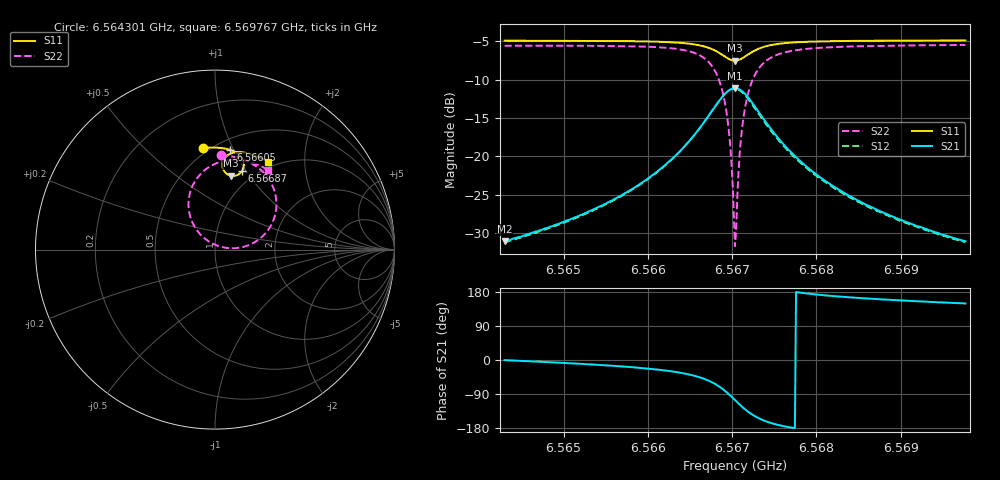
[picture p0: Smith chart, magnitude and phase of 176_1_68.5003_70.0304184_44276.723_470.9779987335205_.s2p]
#  HZ  S  RI  R  50.00
! Rohde & Schwarz Vector Network Analyzer
! Rohde-Schwarz,ZNB20-2Port,1311601062101988,3.16
! Created: UTC 3/20/2024, 4:56:24 PM
! freq[Hz]  re:S11  im:S11  re:S21  im:S21  re:S12  im:S12  re:S22  im:S22
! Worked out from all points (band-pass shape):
!   401 points, 6.564301 GHz to 6.569767 GHz, reference 50 ohm
!   highest |S21| = -11.10 dB at 6.567034 GHz (marker M1); lowest = -31.1 dB at 6.564301 GHz (marker M2)
!   |S21| within 3 dB of the highest: 6.566759 GHz to 6.567307 GHz (547.6 kHz wide, 0.00834 % of centre)
!   lowest |S11| = -7.5 dB at 6.567034 GHz (marker M3), VSWR 2.46, Z = 41 + j41.1 ohm
!   |S11| at or under -10 dB: nowhere
!   |S22| runs from -31.7 to -5.5 dB; largest |S21 - S12| = 0.013
!   S11 on the Smith chart (normalised r, x): 6.564301 GHz: 0.46, +0.78; 6.56605 GHz: 0.60, +0.97; 6.56687 GHz: 0.86, +0.96; 6.569767 GHz: 0.91, +1.33
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6.5643007e9  -0.0668 0.5654  0.0278 -0.000155  0.0274 -0.000739  0.0337 0.5262
6.5652163e9  0.00803 0.5681  0.0409 -0.00741  0.0403 -0.00804  0.1205 0.5132
6.5660499e9  0.0855 0.5551  0.0686 -0.0303  0.0676 -0.031  0.2279 0.4654
6.5661319e9  0.0943 0.5522  0.0731 -0.0353  0.0719 -0.0361  0.2419 0.455
6.5664325e9  0.1287 0.5329  0.094 -0.0674  0.0926 -0.0688  0.3008 0.3913
6.5666512e9  0.1539 0.502  0.1077 -0.1216  0.1053 -0.124  0.3399 0.2866
6.5667741e9  0.1607 0.4708  0.1003 -0.176  0.0959 -0.1795  0.3319 0.1825
6.5668698e9  0.1517 0.4396  0.0674 -0.2298  0.0598 -0.2328  0.2729 0.0819
6.5669518e9  0.1263 0.4163  0.00698 -0.2672  -0.00414 -0.2673  0.1616 0.0161
6.5669791e9  0.1141 0.412  -0.0196 -0.2727  -0.0312 -0.2711  0.1137 0.00787
6.5670201e9  0.0943 0.4108  -0.062 -0.2715  -0.0738 -0.2665  0.0383 0.0143
6.5670338e9  0.0877 0.4119  -0.0761 -0.2681  -0.0875 -0.2624  0.0139 0.0218
6.5670475e9  0.0811 0.4137  -0.0897 -0.2637  -0.1007 -0.2567  -0.00953 0.0315
6.5670611e9  0.0748 0.4162  -0.1026 -0.2577  -0.113 -0.2497  -0.0317 0.0437
6.5670885e9  0.0636 0.4233  -0.1261 -0.2425  -0.1352 -0.2329  -0.0706 0.0736
6.5671295e9  0.051 0.4373  -0.1538 -0.2135  -0.1601 -0.2026  -0.1142 0.1281
6.5671841e9  0.0421 0.4588  -0.1747 -0.1708  -0.1775 -0.1596  -0.1433 0.2056
6.5672524e9  0.0423 0.4839  -0.1806 -0.1218  -0.1801 -0.112  -0.1447 0.2916
6.5674984e9  0.0796 0.5313  -0.1388 -0.0276  -0.1359 -0.0235  -0.0488 0.4494
6.5679494e9  0.1423 0.5429  -0.0793 0.00847  -0.0775 0.00967  0.0868 0.4995
6.568865e9  0.2272 0.5221  -0.0385 0.0149  -0.0376 0.0152  0.2169 0.4812
6.5697669e9  0.2937 0.4897  -0.024 0.0143  -0.0234 0.0144  0.2954 0.4447
